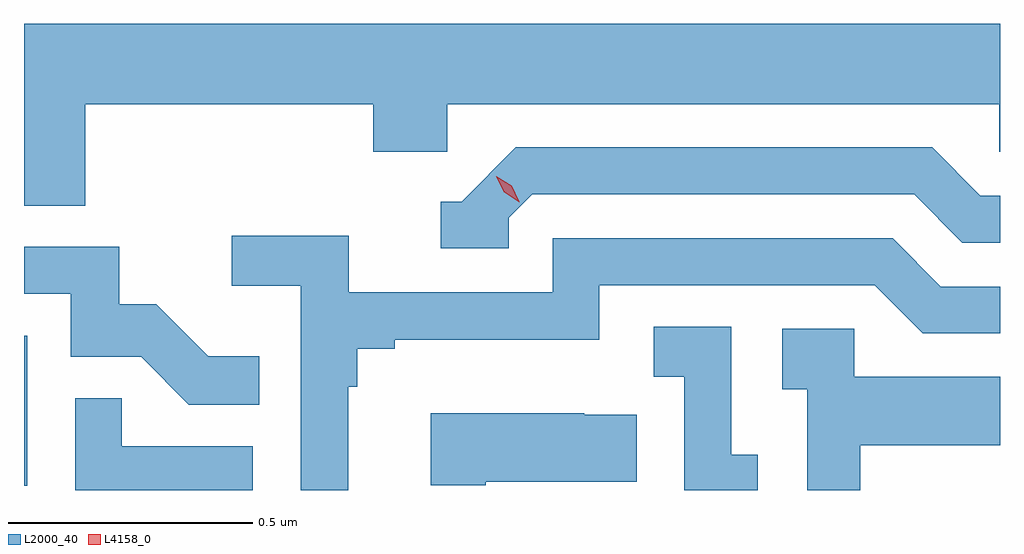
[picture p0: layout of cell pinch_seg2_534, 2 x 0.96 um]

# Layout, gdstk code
import gdstk
lib = gdstk.Library(unit=1e-6, precision=1e-09)
def R(c, l, rs):  # rectangles x0, y0, x1, y1
    for r in rs: c.add(gdstk.rectangle(r[:2], r[2:], *l))
def P(c, l, *ps):  # polygons
    for p in ps: c.add(gdstk.Polygon(p, *l))
L2000_40 = (2000, 40)
L4158_0 = (4158, 0)

pinch_seg2_534 = lib.new_cell('pinch_seg2_534')
R(pinch_seg2_534, L2000_40, [(1008.855,593.574,1008.862,593.881)])
P(pinch_seg2_534, L2000_40, [(1008.98,594.356),(1009.571,594.356),(1009.571,594.258),(1009.722,594.258),(1009.722,594.356),(1010.853,594.356),(1010.853,594.258),(1010.855,594.258),(1010.855,594.52),(1008.855,594.52),(1008.855,594.148),(1008.98,594.148)],
  [(1009.848,594.123),(1009.896,594.171),(1010.679,594.171),(1010.778,594.072),(1010.855,594.072),(1010.855,594.168),(1010.815,594.168),(1010.716,594.267),(1009.863,594.267),(1009.752,594.156),(1009.709,594.156),(1009.709,594.06),(1009.848,594.06)],
  [(1009.519,593.777),(1009.538,593.777),(1009.538,593.854),(1009.615,593.854),(1009.615,593.873),(1010.034,593.873),(1010.034,593.985),(1010.598,593.985),(1010.697,593.886),(1010.855,593.886),(1010.855,593.982),(1010.734,593.982),(1010.635,594.081),(1009.938,594.081),(1009.938,593.97),(1009.52,593.97),(1009.52,594.086),(1009.281,594.086),(1009.281,593.984),(1009.422,593.984),(1009.422,593.565),(1009.519,593.565)],
  [(1009.337,593.839),(1009.233,593.839),(1009.126,593.946),(1009.05,593.946),(1009.05,594.063),(1008.855,594.063),(1008.855,593.967),(1008.951,593.967),(1008.951,593.838),(1009.095,593.838),(1009.193,593.74),(1009.337,593.74)],
  [(1010.359,593.637),(1010.304,593.637),(1010.304,593.9),(1010.145,593.9),(1010.145,593.797),(1010.208,593.797),(1010.208,593.565),(1010.359,593.565)],
  [(1010.569,593.657),(1010.855,593.657),(1010.855,593.797),(1010.556,593.797),(1010.556,593.895),(1010.409,593.895),(1010.409,593.771),(1010.46,593.771),(1010.46,593.565),(1010.569,593.565)],
  [(1009.324,593.655),(1009.055,593.655),(1009.055,593.753),(1008.96,593.753),(1008.96,593.565),(1009.324,593.565)],
  [(1009.801,593.582),(1010.111,593.582),(1010.111,593.719),(1010.003,593.719),(1010.003,593.722),(1009.689,593.722),(1009.689,593.575),(1009.801,593.575)])
P(pinch_seg2_534, L4158_0, [(1009.87,594.155),(1009.839,594.175),(1009.823,594.207),(1009.823,594.208),(1009.823,594.208),(1009.854,594.188),(1009.87,594.156),(1009.87,594.155)])

lib.write_gds('pinch_seg2_534.gds')
